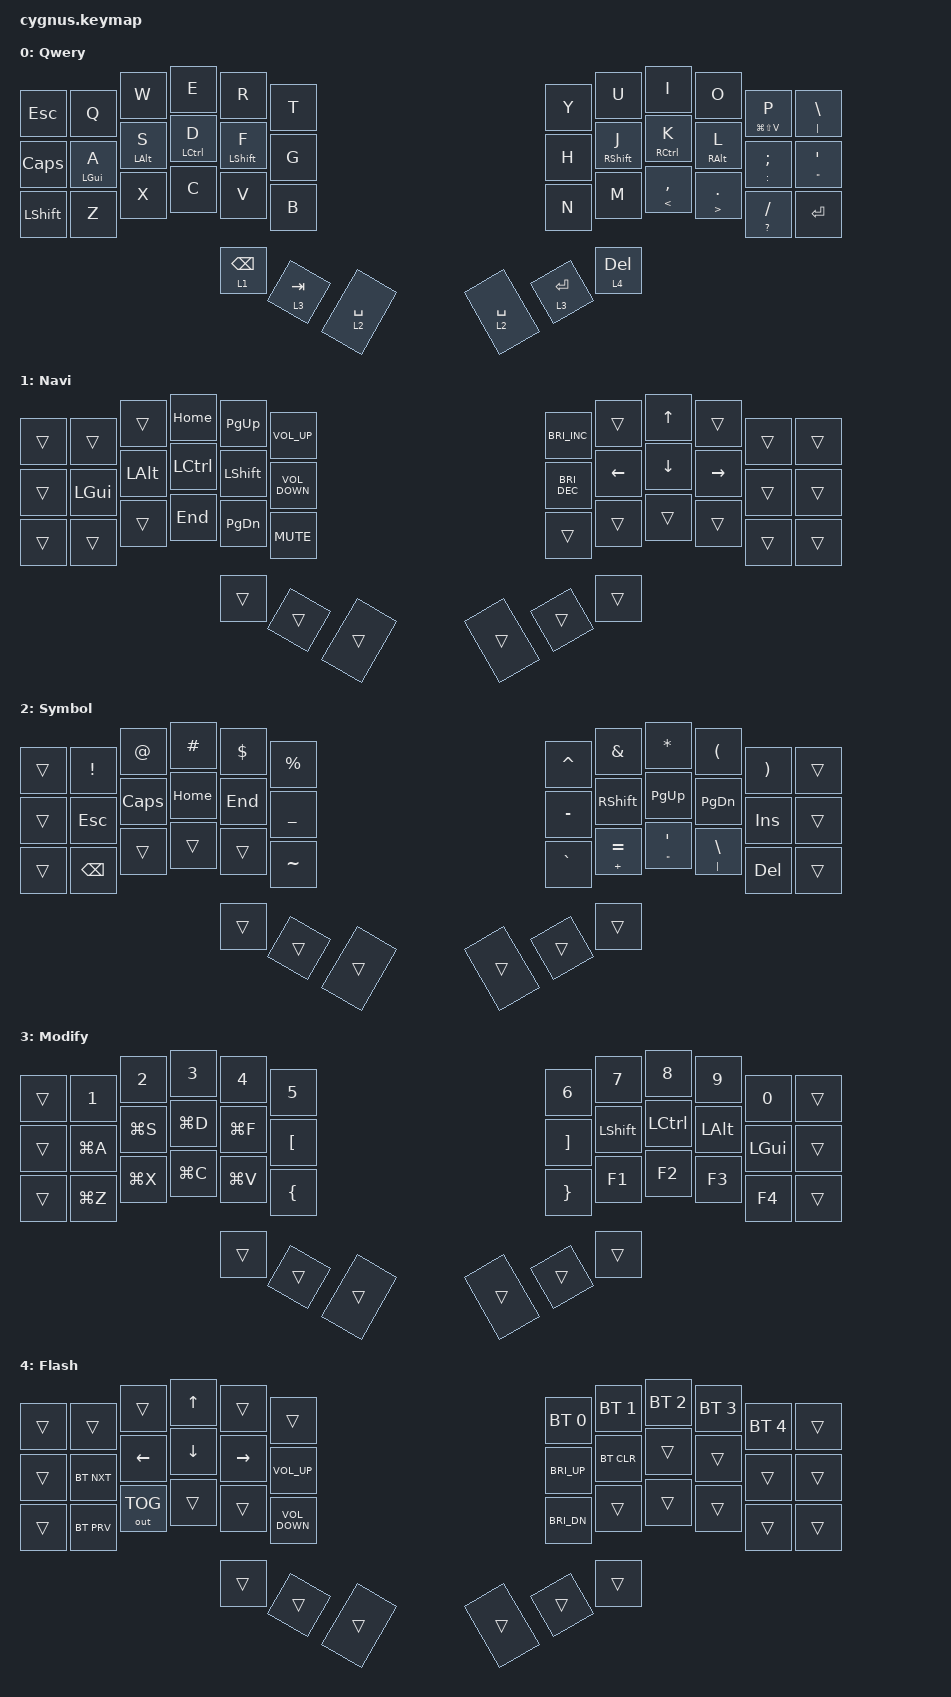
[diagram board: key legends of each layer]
/*
 * Copyright (c) 2020 The ZMK Contributors
 *
 * SPDX-License-Identifier: MIT
 */

#include <behaviors.dtsi>
#include <dt-bindings/zmk/bt.h>
#include <dt-bindings/zmk/keys.h>
#include <dt-bindings/zmk/mouse.h>
#include <dt-bindings/zmk/outputs.h>

&mt {
    tapping-term-ms = <200>;
    flavor = "tap-preferred";
};

&sk {
    release-after-ms = <2000>;
    quick-release;
};

/ {

    macros {
        dongle_bootload_macro: bootload_macro {
            compatible = "zmk,behavior-macro";
            #binding-cells = <0>;
            bindings = <&bootloader>;
            label = "BOOTLOAD_MACRO";
        };
    };
    combos {
        compatible = "zmk,combos";

        left_bkt {
            bindings = <&kp LBKT>;
            key-positions = <3 2>;
            timeout-ms = <50>;
        };

        right_bkt {
            bindings = <&kp RBKT>;
            key-positions = <6 7>;
            timeout-ms = <50>;
        };

        left_par {
            bindings = <&kp LEFT_PARENTHESIS>;
            key-positions = <12 13>;
            timeout-ms = <50>;
        };

        right_par {
            bindings = <&kp RIGHT_PARENTHESIS>;
            key-positions = <16 17>;
            timeout-ms = <50>;
        };

        left_brace {
            bindings = <&kp LEFT_BRACE>;
            key-positions = <23 22>;
            timeout-ms = <50>;
        };

        right_brace {
            bindings = <&kp RIGHT_BRACE>;
            key-positions = <26 27>;
            timeout-ms = <50>;
        };

        bac {
            bindings = <&kp BACKSLASH>;
            key-positions = <4 5>;
        };

        pipe {
            bindings = <&kp PIPE>;
            key-positions = <14 15>;
        };
    };

    behaviors {
        hm: homerow_mods {
            compatible = "zmk,behavior-hold-tap";
            label = "HOMEROW_MODS";
            #binding-cells = <2>;
            tapping-term-ms = <200>;
            quick_tap_ms = <0>;
            flavor = "tap-preferred";
            bindings = <&kp>, <&kp>;

            quick-tap-ms = <180>;
            global-quick-tap;
        };

        ltq: ltq {
            compatible = "zmk,behavior-hold-tap";
            label = "LTQ";
            #binding-cells = <2>;
            tapping-term-ms = <200>;
            quick_tap_ms = <0>;
            flavor = "hold-preferred";
            bindings = <&mo>, <&kp>;

            quick-tap-ms = <180>;
            global-quick-tap;
        };

        as: as {
            compatible = "zmk,behavior-hold-tap";
            label = "AUTO_SHIFT";
            bindings = <&kp>, <&kp>;

            #binding-cells = <2>;
            tapping-term-ms = <135>;
            quick-tap-ms = <0>;
            flavor = "tap-preferred";
        };
    };

    keymap {
        compatible = "zmk,keymap";

        Qwery {
            bindings = <
&kp ESC         &kp Q           &kp W           &kp E             &kp R             &kp T        &kp Y         &kp U              &kp I                &kp O                    &hm LG(LS(V)) P      &as PIPE BACKSLASH
&kp CAPSLOCK    &hm LEFT_GUI A  &hm LEFT_ALT S  &hm LCTRL D       &hm LEFT_SHIFT F  &kp G        &kp H         &hm RIGHT_SHIFT J  &hm RCTRL K          &hm RIGHT_ALT L          &as COLON SEMICOLON  &as DOUBLE_QUOTES SINGLE_QUOTE
&kp LEFT_SHIFT  &kp Z           &kp X           &kp C             &kp V             &kp B        &kp N         &kp M              &as LESS_THAN COMMA  &as GREATER_THAN PERIOD  &as QUESTION SLASH   &kp ENTER
                                                &ltq 1 BACKSPACE  &lt 3 TAB         &lt 2 SPACE  &ltq 2 SPACE  &ltq 3 ENTER       &ltq 4 DEL
            >;

            label = "Qwery";
        };

        Navi {
            bindings = <
&trans  &trans        &trans        &kp HOME          &kp PAGE_UP     &kp C_VOLUME_UP    &kp C_BRIGHTNESS_INC  &trans    &kp UP_ARROW    &trans           &trans  &trans
&trans  &kp LEFT_GUI  &kp LEFT_ALT  &kp LEFT_CONTROL  &kp LEFT_SHIFT  &kp C_VOLUME_DOWN  &kp C_BRIGHTNESS_DEC  &kp LEFT  &kp DOWN_ARROW  &kp RIGHT_ARROW  &trans  &trans
&trans  &trans        &trans        &kp END           &kp PAGE_DOWN   &kp K_MUTE         &trans                &trans    &trans          &trans           &trans  &trans
                                    &trans            &trans          &trans             &trans                &trans    &trans
            >;
        };

        Symbol {
            bindings = <
&trans  &kp EXCLAMATION  &kp AT_SIGN   &kp HASH  &kp DOLLAR  &kp PERCENT  &kp CARET  &kp AMPERSAND    &kp STAR                        &kp LEFT_PARENTHESIS  &kp RIGHT_PARENTHESIS  &trans
&trans  &kp ESCAPE       &kp CAPSLOCK  &kp HOME  &kp END     &kp UNDER    &kp MINUS  &kp RIGHT_SHIFT  &kp PAGE_UP                     &kp PAGE_DOWN         &kp INSERT             &trans
&trans  &kp BACKSPACE    &trans        &trans    &trans      &kp TILDE    &kp GRAVE  &as PLUS EQUAL   &as DOUBLE_QUOTES SINGLE_QUOTE  &as PIPE BACKSLASH    &kp DEL                &trans
                                       &trans    &trans      &trans       &trans     &trans           &trans
            >;

            label = "Symbol";
        };

        Modify {
            bindings = <
&trans  &kp NUMBER_1  &kp NUMBER_2  &kp NUMBER_3  &kp NUMBER_4  &kp NUMBER_5      &kp NUMBER_6       &kp NUMBER_7    &kp NUMBER_8      &kp NUMBER_9  &kp NUMBER_0  &trans
&trans  &kp LG(A)     &kp LG(S)     &kp LG(D)     &kp LG(F)     &kp LEFT_BRACKET  &kp RIGHT_BRACKET  &kp LEFT_SHIFT  &kp LEFT_CONTROL  &kp LEFT_ALT  &kp LEFT_GUI  &trans
&trans  &kp LG(Z)     &kp LG(X)     &kp LG(C)     &kp LG(V)     &kp LEFT_BRACE    &kp RIGHT_BRACE    &kp F1          &kp F2            &kp F3        &kp F4        &trans
                                    &trans        &trans        &trans            &trans             &trans          &trans
            >;

            label = "Modify";
        };

        Flash {
            bindings = <
&trans  &trans      &trans        &kp UP    &trans     &trans             &bt BT_SEL 0  &bt BT_SEL 1  &bt BT_SEL 2  &bt BT_SEL 3  &bt BT_SEL 4  &trans
&trans  &bt BT_NXT  &kp LEFT      &kp DOWN  &kp RIGHT  &kp C_VOLUME_UP    &kp C_BRI_UP  &bt BT_CLR    &trans        &trans        &trans        &trans
&trans  &bt BT_PRV  &out OUT_TOG  &trans    &trans     &kp C_VOLUME_DOWN  &kp C_BRI_DN  &trans        &trans        &trans        &trans        &trans
                                  &trans    &trans     &trans             &trans        &trans        &trans
            >;
        };
    };

    conditional_layers {
        compatible = "zmk,conditional-layers";

        Flash {
            if-layers = <2 3>;
            then-layer = <5>;
        };
    };
};
